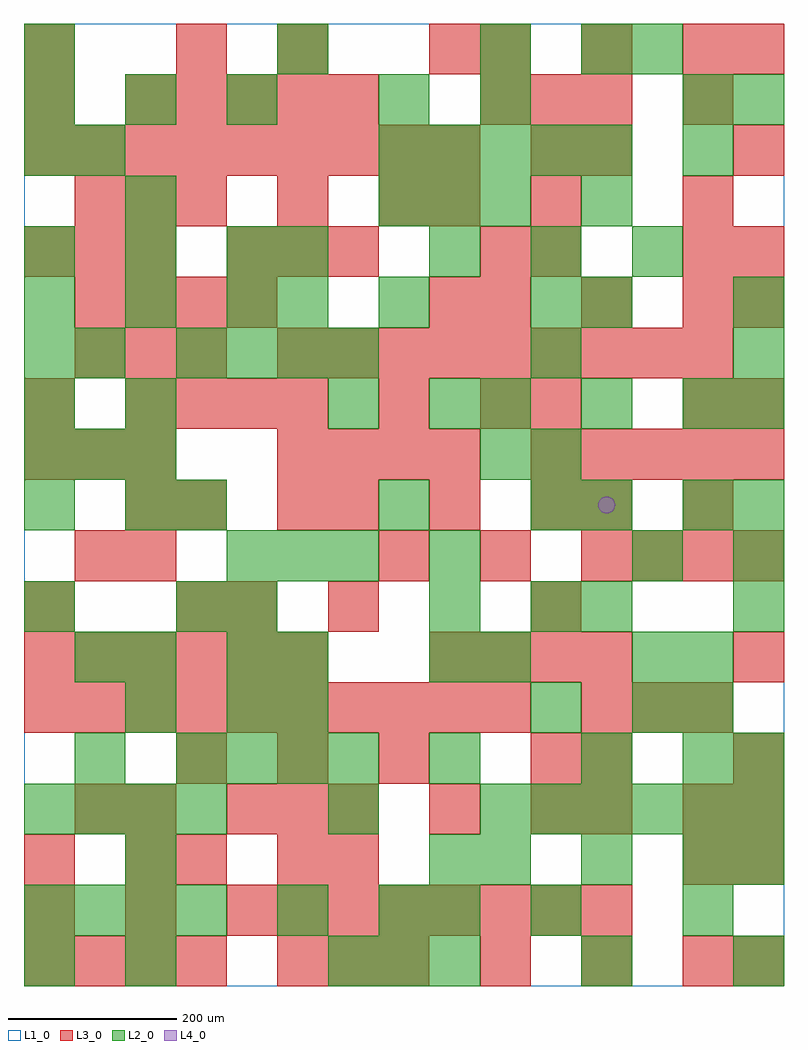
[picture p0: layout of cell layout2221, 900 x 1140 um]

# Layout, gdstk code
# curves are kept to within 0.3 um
import gdstk
lib = gdstk.Library(unit=1e-6, precision=1e-09)
def R(c, l, rs):  # rectangles x0, y0, x1, y1
    for r in rs: c.add(gdstk.rectangle(r[:2], r[2:], *l))
def A(c, l, x, y, w, h, nx, ny, dx, dy):  # array of equal rectangles
    R(c, l, [(x+i*dx, y+j*dy, x+i*dx+w, y+j*dy+h) for i in range(nx) for j in range(ny)])
def P(c, l, *ps):  # polygons
    for p in ps: c.add(gdstk.Polygon(p, *l))
L1_0 = (1, 0)
L2_0 = (2, 0)
L3_0 = (3, 0)
L4_0 = (4, 0)

layout2221 = lib.new_cell('layout2221')
R(layout2221, L1_0, [(0,0,900,1140)])
A(layout2221, L2_0, 360, 0, 60, 60, 3, 1, 60, 0)
A(layout2221, L2_0, 840, 0, 60, 60, 1, 3, 0, 120)
A(layout2221, L2_0, 0, 60, 60, 60, 4, 2, 60, 120)
A(layout2221, L2_0, 480, 120, 60, 60, 1, 3, 0, 120)
A(layout2221, L2_0, 540, 120, 60, 60, 3, 2, 120, 540)
A(layout2221, L2_0, 540, 180, 60, 60, 6, 1, 60, 0)
A(layout2221, L2_0, 180, 240, 60, 60, 4, 2, 60, 480)
A(layout2221, L2_0, 780, 240, 60, 60, 1, 3, 0, 60)
A(layout2221, L2_0, 240, 300, 60, 60, 1, 3, 0, 60)
A(layout2221, L2_0, 600, 300, 60, 60, 1, 3, 0, 120)
A(layout2221, L2_0, 0, 420, 60, 60, 1, 3, 0, 120)
A(layout2221, L2_0, 840, 420, 60, 60, 1, 3, 0, 60)
A(layout2221, L2_0, 240, 480, 60, 60, 3, 1, 60, 0)
A(layout2221, L2_0, 420, 540, 60, 60, 1, 3, 0, 240)
A(layout2221, L2_0, 0, 600, 60, 60, 3, 1, 60, 0)
A(layout2221, L2_0, 840, 660, 60, 60, 1, 3, 0, 60)
A(layout2221, L2_0, 0, 780, 60, 60, 3, 2, 120, 60)
A(layout2221, L2_0, 480, 840, 60, 60, 3, 1, 120, 0)
A(layout2221, L2_0, 420, 900, 60, 60, 3, 1, 60, 0)
A(layout2221, L2_0, 420, 960, 60, 60, 5, 1, 60, 0)
A(layout2221, L2_0, 0, 1020, 60, 60, 3, 1, 120, 0)
R(layout2221, L2_0, [(0,0,60,60), (120,0,180,60), (660,0,720,60), (300,60,360,120), (420,60,480,120), (480,60,540,120), (600,60,660,120), (780,60,840,120), (120,120,180,180), (360,180,420,240), (60,240,120,300), (660,240,720,300), (120,300,180,360), (300,300,360,360), (720,300,780,360), (60,360,120,420), (120,360,180,420), (300,360,360,420), (540,360,600,420), (720,360,780,420), (180,420,240,480), (480,420,540,480), (660,420,720,480), (480,480,540,540), (720,480,780,540), (120,540,180,600), (180,540,240,600), (660,540,720,600), (780,540,840,600), (540,600,600,660), (600,600,660,660), (120,660,180,720), (360,660,420,720), (480,660,540,720), (0,720,60,780), (60,720,120,780), (600,720,660,780), (300,780,360,840), (600,780,660,840), (660,780,720,840), (300,840,360,900), (120,900,180,960), (660,900,720,960), (0,960,60,1020), (60,960,120,1020), (780,960,840,1020), (540,1020,600,1080), (780,1020,840,1080), (840,1020,900,1080), (0,1080,60,1140), (300,1080,360,1140), (540,1080,600,1140), (660,1080,720,1140), (720,1080,780,1140)])
A(layout2221, L3_0, 0, 0, 60, 60, 4, 1, 60, 0)
A(layout2221, L3_0, 300, 0, 60, 60, 3, 1, 60, 0)
A(layout2221, L3_0, 540, 0, 60, 60, 3, 2, 120, 780)
A(layout2221, L3_0, 0, 60, 60, 60, 3, 1, 120, 0)
A(layout2221, L3_0, 300, 60, 60, 60, 7, 1, 60, 0)
A(layout2221, L3_0, 840, 120, 60, 60, 1, 3, 0, 60)
A(layout2221, L3_0, 240, 180, 60, 60, 3, 2, 60, 660)
A(layout2221, L3_0, 180, 240, 60, 60, 3, 1, 120, 0)
A(layout2221, L3_0, 0, 300, 60, 60, 10, 1, 60, 0)
A(layout2221, L3_0, 660, 300, 60, 60, 3, 1, 60, 0)
A(layout2221, L3_0, 0, 360, 60, 60, 6, 1, 60, 0)
A(layout2221, L3_0, 480, 360, 60, 60, 4, 1, 60, 0)
A(layout2221, L3_0, 420, 480, 60, 60, 3, 1, 120, 0)
A(layout2221, L3_0, 720, 480, 60, 60, 3, 1, 60, 0)
A(layout2221, L3_0, 360, 540, 60, 60, 3, 1, 120, 0)
A(layout2221, L3_0, 0, 600, 60, 60, 3, 2, 60, 240)
A(layout2221, L3_0, 300, 600, 60, 60, 4, 1, 60, 0)
A(layout2221, L3_0, 600, 600, 60, 60, 5, 1, 60, 0)
A(layout2221, L3_0, 120, 660, 60, 60, 4, 1, 60, 0)
A(layout2221, L3_0, 60, 720, 60, 60, 3, 2, 60, 180)
A(layout2221, L3_0, 300, 720, 60, 60, 9, 1, 60, 0)
A(layout2221, L3_0, 60, 780, 60, 60, 4, 1, 60, 0)
A(layout2221, L3_0, 600, 840, 60, 60, 1, 3, 0, 60)
A(layout2221, L3_0, 840, 840, 60, 60, 1, 3, 0, 120)
A(layout2221, L3_0, 0, 960, 60, 60, 9, 1, 60, 0)
A(layout2221, L3_0, 120, 1020, 60, 60, 5, 1, 60, 0)
A(layout2221, L3_0, 540, 1020, 60, 60, 3, 1, 60, 0)
A(layout2221, L3_0, 540, 1080, 60, 60, 3, 1, 120, 0)
R(layout2221, L3_0, [(840,0,900,60), (0,120,60,180), (120,120,180,180), (180,120,240,180), (300,120,360,180), (360,120,420,180), (780,120,840,180), (60,180,120,240), (120,180,180,240), (480,180,540,240), (600,180,660,240), (660,180,720,240), (780,180,840,240), (600,240,660,300), (660,240,720,300), (840,360,900,420), (0,420,60,480), (180,420,240,480), (240,420,300,480), (360,420,420,480), (600,420,660,480), (60,480,120,540), (120,480,180,540), (120,540,180,600), (180,540,240,600), (300,540,360,600), (660,540,720,600), (780,540,840,600), (0,660,60,720), (420,660,480,720), (540,660,600,720), (600,660,660,720), (780,660,840,720), (840,660,900,720), (480,780,540,840), (840,780,900,840), (540,840,600,900), (780,840,840,900), (300,900,360,960), (420,900,480,960), (480,900,540,960), (780,900,840,960), (660,960,720,1020), (0,1020,60,1080), (780,1020,840,1080), (0,1080,60,1140), (180,1080,240,1140), (300,1080,360,1140), (480,1080,540,1140)])
P(layout2221, L4_0, [(700,570),(699.239,573.827),(697.071,577.071),(693.827,579.239),(690,580),(686.173,579.239),(682.929,577.071),(680.761,573.827),(680,570),(680.761,566.173),(682.929,562.929),(686.173,560.761),(690,560),(693.827,560.761),(697.071,562.929),(699.239,566.173)])

lib.write_gds('layout2221.gds')
